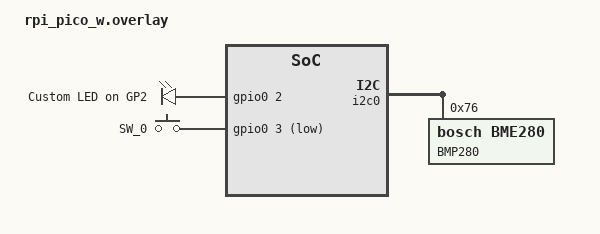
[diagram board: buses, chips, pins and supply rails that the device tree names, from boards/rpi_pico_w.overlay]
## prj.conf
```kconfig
# Logging, minimum without colors
CONFIG_LOG=y
CONFIG_LOG_MODE_MINIMAL=y

# Zephyr sensor API
CONFIG_SENSOR=y
CONFIG_SENSOR_INFO=y

# I2C driver
CONFIG_I2C=y

# BME/P driver
CONFIG_BME280=y

# run "west build -t menuconfig" and look for BME for more 
# kconfig options
```

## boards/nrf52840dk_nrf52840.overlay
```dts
// To get started, press Ctrl+Space to bring up the completion menu and view the available nodes.

// You can also use the buttons in the sidebar to perform actions on nodes.
// Actions currently available include:

// * Enabling / disabling the node
// * Adding the bus to a bus
// * Removing the node
// * Connecting ADC channels

// For more help, browse the DeviceTree documentation at https://docs.zephyrproject.org/latest/guides/dts/index.html
// You can also visit the nRF DeviceTree extension documentation at https://nrfconnect.github.io/vscode-nrf-connect/devicetree/nrfdevicetree.html

/* Choose ACM for console debug */
/ {

	aliases {
		ambient0 = &bme280;
	};

};

&i2c0 {
	status = "okay";

	bme280: bme280@76 {
		compatible = "bosch,bme280";
		reg = <0x76>;
		label = "BME280";
	};

};


&spi3{
	status = "disabled";
};
```

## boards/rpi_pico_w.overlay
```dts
#include <zephyr/dt-bindings/input/input-event-codes.h>

/ {
    aliases {
        led0 = &my_custom_led;
		ambient0 = &bmp280;
    };

    leds {
        compatible = "gpio-leds";

        my_custom_led: led_2 {
            /* Map to GP2 on the RP2040 (gpio0 is the main GPIO controller) */
            gpios = <&gpio0 2 GPIO_ACTIVE_HIGH>;
            label = "Custom LED on GP2";
        };
    };

    gpio_keys {
		compatible = "gpio-keys";

		user_btn: button_0 {
			label = "SW_0";
			gpios = <&gpio0 3 (GPIO_PULL_UP | GPIO_ACTIVE_LOW)>;
			zephyr,code = <INPUT_KEY_0>;
		};
	};
};


/* Default I2c pin MUX:
 * pinmux = <I2C0_SDA_P4>, <I2C0_SCL_P5>;
 *
 * See rpi_pico-pinctrl-common.dtsi
*/

&i2c0 {
	status = "okay";

	bmp280: bmp280@76 {
		compatible = "bosch,bme280";
		reg = <0x76>;
		label = "BMP280";
	};
};
```

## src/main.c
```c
/**
 * @file main.c
 * @brief Main application for reading BMP280 sensor data using Zephyr RTOS.
 *
 * This file contains the main application that initializes the BMP280 sensor 
 * and continuously fetches ambient temperature and atmospheric pressure data 
 * at a fixed interval.
 */

/* C includes */
#include <stdio.h>

/* Zephyr includes */
#include <zephyr/kernel.h>
#include <zephyr/device.h>
#include <zephyr/drivers/sensor.h>
#include <zephyr/logging/log.h>

/** 
 * @brief Register the logging module for the main application. 
 */
LOG_MODULE_REGISTER(main, LOG_LEVEL_INF);

/**
 * @brief Pointer to the BMP280 device structure.
 * 
 * This device instance is retrieved at build time using the Device Tree 
 * node label 'bmp280'.
 */
static const struct device *const dev = DEVICE_DT_GET(DT_NODELABEL(bmp280));

/**
 * @brief Main application entry point.
 *
 * This function verifies if the BMP280 sensor is ready for operation. 
 * Once verified, it enters an infinite loop where it periodically fetches 
 * sensor samples (temperature and pressure) every 5 seconds and logs 
 * them to the console.
 *
 * @return Returns standard error codes (e.g., -EIO) if device initialization fails.
 */
int main(void)
{
	int ret;
	struct sensor_value temp, press;

	if (!device_is_ready(dev)) {
		LOG_ERR("Error: Device \"%s\" is not ready; "
		       "check the driver initialization logs for errors.",
		       dev->name);
		return -EIO;
	}

	LOG_INF("Sample using device %s starting.", dev->name);

	while (1) {
		ret = sensor_sample_fetch(dev);

		/* Check if fetch is okay */
		if (ret < 0){
			LOG_ERR("Error fetching %s data.", dev->name);
			continue;
		}

		sensor_channel_get(dev, SENSOR_CHAN_AMBIENT_TEMP, &temp);
		sensor_channel_get(dev, SENSOR_CHAN_PRESS, &press);
		
		/* Zephyr sensor API: *
	 	* int32_t val1 Integer part of the value.
	 	* int32_t val2 Fractional part of the value (in one-millionth parts). */

		LOG_INF("T: %d.%06d; P: %d.%06d",
				temp.val1, temp.val2, press.val1, press.val2);

		k_sleep(K_MSEC(5000));
	}
}
```
